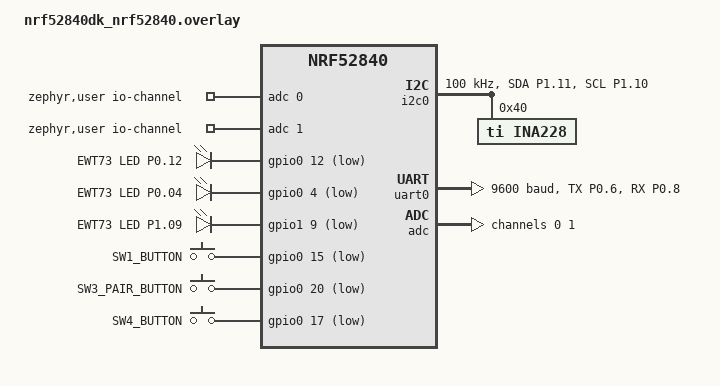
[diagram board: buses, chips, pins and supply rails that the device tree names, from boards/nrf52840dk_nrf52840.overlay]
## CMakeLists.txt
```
cmake_minimum_required(VERSION 3.20.0)

find_package(Zephyr REQUIRED HINTS $ENV{ZEPHYR_BASE})
project(jss_review_uart_bridge)

target_sources(app PRIVATE
	src/main.c
	src/button_control.c
	src/jss_service.c
)
```

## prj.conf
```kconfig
# E73 nRF52840 BLE NUS + JSS bring-up firmware.
# Aligned with Nordic official peripheral_uart sample patterns.

CONFIG_GPIO=y
CONFIG_ADC=y
CONFIG_I2C=y
CONFIG_SENSOR=y
CONFIG_TEMP_NRF5=y
CONFIG_LOG=y
CONFIG_LOG_DEFAULT_LEVEL=3

# Physical UART for STM32 telemetry link (uart1).
# Console/log backend remain off — E73 module has no debug UART routed.
CONFIG_SERIAL=y
CONFIG_UART_INTERRUPT_DRIVEN=y
CONFIG_CONSOLE=n
CONFIG_UART_CONSOLE=n
CONFIG_LOG_BACKEND_UART=n
# FIX(问题prj): Align with official - don't route printk through log subsystem
CONFIG_LOG_PRINTK=n

# FIX(问题11): Heap pool required by BLE subsystem internals.
# Official peripheral_uart sets 2048.
CONFIG_HEAP_MEM_POOL_SIZE=2048

# Bluetooth LE peripheral + Nordic UART Service.
CONFIG_BT=y
CONFIG_BT_SMP=y
CONFIG_BT_SMP_APP_PAIRING_ACCEPT=y
CONFIG_BT_PERIPHERAL=y
CONFIG_BT_DEVICE_NAME="Justin_Shunt_Test"
# Appearance 833 = 0x0341 = Generic Sensor (Bluetooth SIG assigned number)
CONFIG_BT_DEVICE_APPEARANCE=833
CONFIG_BT_MAX_CONN=2
CONFIG_BT_MAX_PAIRED=4
CONFIG_BT_NUS=y

# Enable bonding / settings persistence.
CONFIG_BT_SETTINGS=y
CONFIG_SETTINGS=y
CONFIG_FLASH=y
# FIX(问题5): Add FLASH_PAGE_LAYOUT to match official sample.
CONFIG_FLASH_PAGE_LAYOUT=y
CONFIG_FLASH_MAP=y
CONFIG_NVS=y
CONFIG_BT_KEYS_OVERWRITE_OLDEST=y

# Usable NUS packet size without making the demo complicated.
CONFIG_BT_ATT_PREPARE_COUNT=2
CONFIG_BT_BUF_ACL_RX_SIZE=251
CONFIG_BT_BUF_ACL_TX_SIZE=251
CONFIG_BT_L2CAP_TX_MTU=247
CONFIG_BT_CTLR_DATA_LENGTH_MAX=251

# E73 modules are reliable with the internal RC LF clock
# (no external 32.768 kHz crystal populated).
CONFIG_CLOCK_CONTROL_NRF_K32SRC_RC=y
CONFIG_CLOCK_CONTROL_NRF_K32SRC_XTAL=n

CONFIG_MAIN_STACK_SIZE=2048
CONFIG_SYSTEM_WORKQUEUE_STACK_SIZE=2048
```

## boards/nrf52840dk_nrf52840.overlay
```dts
#include <zephyr/dt-bindings/i2c/i2c.h>
#include <zephyr/dt-bindings/pinctrl/nrf-pinctrl.h>

/*
 * EWT73-TBCE / E73-2G4M08S1C BLE review-build overlay.
 *
 * Keep the hardware facts proven on the bench:
 *   SW3 / P0.20 = pairing button
 *   P0.06 = nRF TX -> STM32 PA3 (USART2_RX)
 *   P0.08 = nRF RX <- STM32 PA2 (USART2_TX)
 */

/ {
	zephyr,user {
		io-channels = <&adc 0>, <&adc 1>;
	};

	aliases {
		led0 = &ewt_led0;
		led1 = &ewt_led1;
		led2 = &ewt_led2;
		sw0 = &sw3_pair_button;
		sw1 = &sw1_button;
		sw2 = &sw4_button;
	};

	ewt_leds {
		compatible = "gpio-leds";

		ewt_led0: led_0 {
			gpios = <&gpio0 12 GPIO_ACTIVE_LOW>;
			label = "EWT73 LED P0.12";
		};

		ewt_led1: led_1 {
			gpios = <&gpio0 4 GPIO_ACTIVE_LOW>;
			label = "EWT73 LED P0.04";
		};

		ewt_led2: led_2 {
			gpios = <&gpio1 9 GPIO_ACTIVE_LOW>;
			label = "EWT73 LED P1.09";
		};
	};

	buttons {
		compatible = "gpio-keys";

		sw1_button: sw1_button {
			gpios = <&gpio0 15 (GPIO_PULL_UP | GPIO_ACTIVE_LOW)>;
			label = "SW1_BUTTON";
		};

		sw3_pair_button: sw3_pair_button {
			gpios = <&gpio0 20 (GPIO_PULL_UP | GPIO_ACTIVE_LOW)>;
			label = "SW3_PAIR_BUTTON";
		};

		sw4_button: sw4_button {
			gpios = <&gpio0 17 (GPIO_PULL_UP | GPIO_ACTIVE_LOW)>;
			label = "SW4_BUTTON";
		};
	};
};

&pinctrl {
	i2c0_ina228: i2c0_ina228 {
		group1 {
			psels = <NRF_PSEL(TWIM_SDA, 1, 11)>,
				<NRF_PSEL(TWIM_SCL, 1, 10)>;
		};
	};

	i2c0_ina228_sleep: i2c0_ina228_sleep {
		group1 {
			psels = <NRF_PSEL(TWIM_SDA, 1, 11)>,
				<NRF_PSEL(TWIM_SCL, 1, 10)>;
			low-power-enable;
		};
	};

	uart0_stm32: uart0_stm32 {
		group1 {
			psels = <NRF_PSEL(UART_TX, 0, 6)>;
		};
		group2 {
			psels = <NRF_PSEL(UART_RX, 0, 8)>;
			bias-pull-up;
		};
	};

	uart0_stm32_sleep: uart0_stm32_sleep {
		group1 {
			psels = <NRF_PSEL(UART_TX, 0, 6)>,
				<NRF_PSEL(UART_RX, 0, 8)>;
			low-power-enable;
		};
	};
};

&i2c0 {
	compatible = "nordic,nrf-twim";
	status = "okay";
	pinctrl-0 = <&i2c0_ina228>;
	pinctrl-1 = <&i2c0_ina228_sleep>;
	pinctrl-names = "default", "sleep";
	clock-frequency = <I2C_BITRATE_STANDARD>;

	ina228: ina228@40 {
		compatible = "ti,ina228";
		reg = <0x40>;
		status = "okay";
		current-lsb-microamps = <19>;
		rshunt-micro-ohms = <15000>;
		avg-count = <16>;
	};
};

&uart0 {
	compatible = "nordic,nrf-uarte";
	status = "okay";
	current-speed = <9600>;
	pinctrl-0 = <&uart0_stm32>;
	pinctrl-1 = <&uart0_stm32_sleep>;
	pinctrl-names = "default", "sleep";
};

&adc {
	#address-cells = <1>;
	#size-cells = <0>;

	channel@0 {
		reg = <0>;
		zephyr,gain = "ADC_GAIN_1_6";
		zephyr,reference = "ADC_REF_INTERNAL";
		zephyr,acquisition-time = <ADC_ACQ_TIME_DEFAULT>;
		zephyr,input-positive = <NRF_SAADC_AIN1>;
		zephyr,resolution = <12>;
	};

	channel@1 {
		reg = <1>;
		zephyr,gain = "ADC_GAIN_1_6";
		zephyr,reference = "ADC_REF_INTERNAL";
		zephyr,acquisition-time = <ADC_ACQ_TIME_DEFAULT>;
		zephyr,input-positive = <NRF_SAADC_AIN4>;
		zephyr,resolution = <12>;
	};
};
```

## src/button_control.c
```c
#include "button_control.h"

#include <errno.h>

#include <zephyr/device.h>
#include <zephyr/devicetree.h>
#include <zephyr/drivers/gpio.h>
#include <zephyr/kernel.h>
#include <zephyr/logging/log.h>
#include <zephyr/sys/atomic.h>

LOG_MODULE_REGISTER(button_control, LOG_LEVEL_INF);

#define PAIR_DEBOUNCE_MS 30
#define PAIR_MODE_PRESS_MS 5000
#define CLEAR_BONDS_PRESS_MS 10000

static const struct gpio_dt_spec pair_button = GPIO_DT_SPEC_GET(DT_ALIAS(sw0), gpios);
static const struct gpio_dt_spec sw3_button = GPIO_DT_SPEC_GET(DT_ALIAS(sw1), gpios);
static const struct gpio_dt_spec sw4_button = GPIO_DT_SPEC_GET(DT_ALIAS(sw2), gpios);

static struct gpio_callback pair_button_cb;
static struct k_work_delayable debounce_work;
static struct k_work_delayable pair_mode_work;
static struct k_work_delayable clear_bonds_work;
static button_control_event_handler_t event_handler;
static void *event_user_data;
static atomic_t stable_pair_pressed;
static atomic_t pair_mode_sent;
static atomic_t clear_bonds_sent;

static int read_pressed(const struct gpio_dt_spec *button)
{
	int value = gpio_pin_get_dt(button);

	if (value < 0) {
		return value;
	}

	return value ? 1 : 0;
}

static void notify_event(enum button_control_event event)
{
	switch (event) {
	case BUTTON_CONTROL_EVENT_PAIR_SHORT_PRESS:
		LOG_INF("PAIR button short press");
		break;
	case BUTTON_CONTROL_EVENT_ENTER_PAIR_MODE:
		LOG_INF("PAIR MODE REQUESTED");
		break;
	case BUTTON_CONTROL_EVENT_CLEAR_BONDS_REQUESTED:
		LOG_INF("CLEAR BONDS REQUESTED");
		break;
	default:
		break;
	}

	if (event_handler) {
		event_handler(event, event_user_data);
	}
}

static void pair_mode_work_handler(struct k_work *work)
{
	ARG_UNUSED(work);

	if (!atomic_get(&stable_pair_pressed)) {
		return;
	}

	if (!atomic_cas(&pair_mode_sent, 0, 1)) {
		return;
	}

	notify_event(BUTTON_CONTROL_EVENT_ENTER_PAIR_MODE);
}

static void clear_bonds_work_handler(struct k_work *work)
{
	ARG_UNUSED(work);

	if (!atomic_get(&stable_pair_pressed)) {
		return;
	}

	if (!atomic_cas(&clear_bonds_sent, 0, 1)) {
		return;
	}

	notify_event(BUTTON_CONTROL_EVENT_CLEAR_BONDS_REQUESTED);
}

static void debounce_work_handler(struct k_work *work)
{
	int pressed;
	bool was_pressed;

	ARG_UNUSED(work);

	pressed = read_pressed(&pair_button);
	if (pressed < 0) {
		LOG_WRN("PAIR button read failed: %d", pressed);
		return;
	}

	was_pressed = atomic_get(&stable_pair_pressed) != 0;
	if ((pressed != 0) == was_pressed) {
		return;
	}

	if (pressed) {
		atomic_set(&stable_pair_pressed, 1);
		atomic_set(&pair_mode_sent, 0);
		atomic_set(&clear_bonds_sent, 0);
		(void)k_work_reschedule(&pair_mode_work, K_MSEC(PAIR_MODE_PRESS_MS));
		(void)k_work_reschedule(&clear_bonds_work, K_MSEC(CLEAR_BONDS_PRESS_MS));
		LOG_DBG("PAIR button pressed");
		return;
	}

	atomic_set(&stable_pair_pressed, 0);
	(void)k_work_cancel_delayable(&pair_mode_work);
	(void)k_work_cancel_delayable(&clear_bonds_work);
	LOG_DBG("PAIR button released");

	if (!atomic_get(&pair_mode_sent) && !atomic_get(&clear_bonds_sent)) {
		notify_event(BUTTON_CONTROL_EVENT_PAIR_SHORT_PRESS);
	}
}

static void pair_button_isr(const struct device *dev, struct gpio_callback *cb, uint32_t pins)
{
	ARG_UNUSED(dev);
	ARG_UNUSED(cb);
	ARG_UNUSED(pins);

	(void)k_work_reschedule(&debounce_work, K_MSEC(PAIR_DEBOUNCE_MS));
}

static int configure_input(const struct gpio_dt_spec *button)
{
	if (!gpio_is_ready_dt(button)) {
		return -ENODEV;
	}

	return gpio_pin_configure_dt(button, GPIO_INPUT);
}

int button_control_init(button_control_event_handler_t handler, void *user_data)
{
	int err;

	event_handler = handler;
	event_user_data = user_data;

	err = configure_input(&pair_button);
	if (err) {
		return err;
	}

	err = configure_input(&sw3_button);
	if (err) {
		return err;
	}

	err = configure_input(&sw4_button);
	if (err) {
		return err;
	}

	/* SW3/SW4 are status inputs sampled in the main loop. Only PAIR uses
	 * interrupts because it owns short/long-press timing. */
	k_work_init_delayable(&debounce_work, debounce_work_handler);
	k_work_init_delayable(&pair_mode_work, pair_mode_work_handler);
	k_work_init_delayable(&clear_bonds_work, clear_bonds_work_handler);

	atomic_set(&stable_pair_pressed, read_pressed(&pair_button) > 0 ? 1 : 0);
	atomic_set(&pair_mode_sent, 0);
	atomic_set(&clear_bonds_sent, 0);

	gpio_init_callback(&pair_button_cb, pair_button_isr, BIT(pair_button.pin));
	err = gpio_add_callback(pair_button.port, &pair_button_cb);
	if (err) {
		return err;
	}

	err = gpio_pin_interrupt_configure_dt(&pair_button, GPIO_INT_EDGE_BOTH);
	if (err) {
		(void)gpio_remove_callback(pair_button.port, &pair_button_cb);
		return err;
	}

	LOG_INF("PAIR button ready");
	return 0;
}

int button_control_pair_pressed(void)
{
	return read_pressed(&pair_button);
}

int button_control_sw3_pressed(void)
{
	return read_pressed(&sw3_button);
}

int button_control_sw4_pressed(void)
{
	return read_pressed(&sw4_button);
}
```

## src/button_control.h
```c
#ifndef BUTTON_CONTROL_H_
#define BUTTON_CONTROL_H_

#include <stdint.h>

enum button_control_event {
	BUTTON_CONTROL_EVENT_PAIR_SHORT_PRESS,
	BUTTON_CONTROL_EVENT_ENTER_PAIR_MODE,
	BUTTON_CONTROL_EVENT_CLEAR_BONDS_REQUESTED,
};

typedef void (*button_control_event_handler_t)(enum button_control_event event, void *user_data);

int button_control_init(button_control_event_handler_t handler, void *user_data);
int button_control_pair_pressed(void);
int button_control_sw3_pressed(void);
int button_control_sw4_pressed(void);

#endif /* BUTTON_CONTROL_H_ */
```

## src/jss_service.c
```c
/*
 * Justin Smart Shunt Test GATT Service.
 * Official baseline: direct bt_gatt_notify(), no pipeline.
 *
 * v0.3.0: Added UART bridge characteristics (def5/def6).
 *   def5 = UART Command (App→STM32): write-without-response
 *   def6 = UART Response (STM32→App): notify
 *
 * LED characteristic uses BT_GATT_PERM_WRITE_ENCRYPT.
 * Encryption is enforced by the Zephyr stack; no manual bond check here.
 */

#include "jss_service.h"

#include <errno.h>
#include <stddef.h>
#include <stdint.h>
#include <string.h>

#include <zephyr/bluetooth/gatt.h>
#include <zephyr/bluetooth/uuid.h>
#include <zephyr/kernel.h>
#include <zephyr/logging/log.h>

LOG_MODULE_REGISTER(jss_service, LOG_LEVEL_INF);

#define JSS_TEXT_MAX_LEN 256

static const struct bt_uuid_128 jss_service_uuid =
	BT_UUID_INIT_128(JSS_SERVICE_UUID_VAL);
static const struct bt_uuid_128 jss_live_data_uuid =
	BT_UUID_INIT_128(BT_UUID_128_ENCODE(0x12345678, 0x1234, 0x5678, 0x1234,
					    0x56789abcdef1));
static const struct bt_uuid_128 jss_led_control_uuid =
	BT_UUID_INIT_128(BT_UUID_128_ENCODE(0x12345678, 0x1234, 0x5678, 0x1234,
					    0x56789abcdef2));
static const struct bt_uuid_128 jss_device_status_uuid =
	BT_UUID_INIT_128(BT_UUID_128_ENCODE(0x12345678, 0x1234, 0x5678, 0x1234,
					    0x56789abcdef3));
static const struct bt_uuid_128 jss_secure_info_uuid =
	BT_UUID_INIT_128(BT_UUID_128_ENCODE(0x12345678, 0x1234, 0x5678, 0x1234,
					    0x56789abcdef4));
static const struct bt_uuid_128 jss_uart_cmd_uuid =
	BT_UUID_INIT_128(BT_UUID_128_ENCODE(0x12345678, 0x1234, 0x5678, 0x1234,
					    0x56789abcdef5));
static const struct bt_uuid_128 jss_uart_rsp_uuid =
	BT_UUID_INIT_128(BT_UUID_128_ENCODE(0x12345678, 0x1234, 0x5678, 0x1234,
					    0x56789abcdef6));

static struct jss_service_handlers service_handlers;

/* Mutex protection for shared text buffers written from main thread,
 * read from BLE system workqueue thread (GATT read / notify). */
static K_MUTEX_DEFINE(live_data_mutex);
static K_MUTEX_DEFINE(status_mutex);
static K_MUTEX_DEFINE(secure_info_mutex);
static K_MUTEX_DEFINE(uart_rsp_mutex);

static char live_data[JSS_TEXT_MAX_LEN] = "V=0.000,I=0,T=0,SOC=0";
static char device_status[JSS_TEXT_MAX_LEN] = "PAIR_MODE=0,BONDED_COUNT=0,LED=0,FW=" JSS_FW_VERSION ",IS_BONDED=0";
static char secure_info[JSS_TEXT_MAX_LEN] = "SERIAL=" JSS_DEVICE_SERIAL ",FW=" JSS_FW_VERSION ",PROVISIONED=0";
static char uart_rsp[JSS_TEXT_MAX_LEN];
static bool led_on;
static bool live_notify_enabled;
static bool status_notify_enabled;
static bool uart_rsp_notify_enabled;
static const struct bt_gatt_attr *live_data_attr;
static const struct bt_gatt_attr *device_status_attr;
static const struct bt_gatt_attr *uart_rsp_attr;
static uint32_t live_notify_attempts;
static uint32_t live_notify_successes;
static uint32_t live_notify_skips;
static int live_notify_last_err;
static int led_write_last_err;

/* ---------- GATT read callbacks ---------- */

static ssize_t read_live_data(struct bt_conn *conn, const struct bt_gatt_attr *attr,
			      void *buf, uint16_t len, uint16_t offset)
{
	ssize_t ret;

	k_mutex_lock(&live_data_mutex, K_FOREVER);
	ret = bt_gatt_attr_read(conn, attr, buf, len, offset,
				live_data, strlen(live_data));
	k_mutex_unlock(&live_data_mutex);

	return ret;
}

static ssize_t read_device_status(struct bt_conn *conn, const struct bt_gatt_attr *attr,
				  void *buf, uint16_t len, uint16_t offset)
{
	ssize_t ret;

	k_mutex_lock(&status_mutex, K_FOREVER);
	ret = bt_gatt_attr_read(conn, attr, buf, len, offset,
				device_status, strlen(device_status));
	k_mutex_unlock(&status_mutex);

	return ret;
}

static ssize_t read_secure_info(struct bt_conn *conn, const struct bt_gatt_attr *attr,
				void *buf, uint16_t len, uint16_t offset)
{
	ssize_t ret;

	k_mutex_lock(&secure_info_mutex, K_FOREVER);
	ret = bt_gatt_attr_read(conn, attr, buf, len, offset,
				secure_info, strlen(secure_info));
	k_mutex_unlock(&secure_info_mutex);

	return ret;
}

static ssize_t read_uart_rsp(struct bt_conn *conn, const struct bt_gatt_attr *attr,
			     void *buf, uint16_t len, uint16_t offset)
{
	ssize_t ret;

	k_mutex_lock(&uart_rsp_mutex, K_FOREVER);
	ret = bt_gatt_attr_read(conn, attr, buf, len, offset,
				uart_rsp, strlen(uart_rsp));
	k_mutex_unlock(&uart_rsp_mutex);

	return ret;
}

/* ---------- LED write callback ---------- */

static ssize_t write_led_control(struct bt_conn *conn, const struct bt_gatt_attr *attr,
				 const void *buf, uint16_t len, uint16_t offset,
				 uint8_t flags)
{
	const uint8_t *value = buf;

	ARG_UNUSED(conn);
	ARG_UNUSED(attr);
	ARG_UNUSED(flags);

	if (offset != 0) {
		led_write_last_err = BT_ATT_ERR_INVALID_OFFSET;
		return BT_GATT_ERR(BT_ATT_ERR_INVALID_OFFSET);
	}

	if (len != 1) {
		led_write_last_err = BT_ATT_ERR_INVALID_ATTRIBUTE_LEN;
		return BT_GATT_ERR(BT_ATT_ERR_INVALID_ATTRIBUTE_LEN);
	}

	if (value[0] != 0x00 && value[0] != 0x01) {
		led_write_last_err = BT_ATT_ERR_VALUE_NOT_ALLOWED;
		return BT_GATT_ERR(BT_ATT_ERR_VALUE_NOT_ALLOWED);
	}

	led_on = value[0] == 0x01;
	if (service_handlers.led_write) {
		service_handlers.led_write(led_on);
	}

	LOG_INF("LED control accepted: %u", led_on ? 1 : 0);
	led_write_last_err = 0;
	return len;
}

/* ---------- UART command write callback ---------- */

static ssize_t write_uart_cmd(struct bt_conn *conn, const struct bt_gatt_attr *attr,
			      const void *buf, uint16_t len, uint16_t offset,
			      uint8_t flags)
{
	ARG_UNUSED(conn);
	ARG_UNUSED(attr);
	ARG_UNUSED(flags);

	if (offset != 0) {
		return BT_GATT_ERR(BT_ATT_ERR_INVALID_OFFSET);
	}

	if (len == 0 || len > JSS_TEXT_MAX_LEN) {
		return BT_GATT_ERR(BT_ATT_ERR_INVALID_ATTRIBUTE_LEN);
	}

	if (service_handlers.uart_cmd) {
		service_handlers.uart_cmd(buf, len);
	}

	return len;
}

/* ---------- CCC callbacks ---------- */

static void live_ccc_changed(const struct bt_gatt_attr *attr, uint16_t value)
{
	ARG_UNUSED(attr);

	live_notify_enabled = value == BT_GATT_CCC_NOTIFY;
	LOG_INF("Live data notify %s", live_notify_enabled ? "enabled" : "disabled");
}

static void status_ccc_changed(const struct bt_gatt_attr *attr, uint16_t value)
{
	ARG_UNUSED(attr);

	status_notify_enabled = value == BT_GATT_CCC_NOTIFY;
	LOG_INF("Status notify %s", status_notify_enabled ? "enabled" : "disabled");
}

static void uart_rsp_ccc_changed(const struct bt_gatt_attr *attr, uint16_t value)
{
	ARG_UNUSED(attr);

	uart_rsp_notify_enabled = value == BT_GATT_CCC_NOTIFY;
	LOG_INF("UART response notify %s", uart_rsp_notify_enabled ? "enabled" : "disabled");
}

/* ---------- GATT service definition ---------- */

BT_GATT_SERVICE_DEFINE(jss_svc,
	BT_GATT_PRIMARY_SERVICE(&jss_service_uuid),
	/* def1: Live telemetry data (read + notify) */
	BT_GATT_CHARACTERISTIC(&jss_live_data_uuid.uuid,
			       BT_GATT_CHRC_READ | BT_GATT_CHRC_NOTIFY,
			       BT_GATT_PERM_READ,
			       read_live_data, NULL, NULL),
	BT_GATT_CCC(live_ccc_changed, BT_GATT_PERM_READ | BT_GATT_PERM_WRITE),
	/* def2: LED control (write, encrypted) */
	BT_GATT_CHARACTERISTIC(&jss_led_control_uuid.uuid,
			       BT_GATT_CHRC_WRITE,
			       BT_GATT_PERM_WRITE_ENCRYPT,
			       NULL, write_led_control, NULL),
	/* def3: Device status (read + notify) */
	BT_GATT_CHARACTERISTIC(&jss_device_status_uuid.uuid,
			       BT_GATT_CHRC_READ | BT_GATT_CHRC_NOTIFY,
			       BT_GATT_PERM_READ,
			       read_device_status, NULL, NULL),
	BT_GATT_CCC(status_ccc_changed, BT_GATT_PERM_READ | BT_GATT_PERM_WRITE),
	/* def4: Secure info (read, encrypted) */
	BT_GATT_CHARACTERISTIC(&jss_secure_info_uuid.uuid,
			       BT_GATT_CHRC_READ,
			       BT_GATT_PERM_READ_ENCRYPT,
			       read_secure_info, NULL, NULL),
	/* def5: UART command — App writes command text, forwarded to STM32 */
	BT_GATT_CHARACTERISTIC(&jss_uart_cmd_uuid.uuid,
			       BT_GATT_CHRC_WRITE | BT_GATT_CHRC_WRITE_WITHOUT_RESP,
			       BT_GATT_PERM_WRITE,
			       NULL, write_uart_cmd, NULL),
	/* def6: UART response — STM32 reply text, notified to App */
	BT_GATT_CHARACTERISTIC(&jss_uart_rsp_uuid.uuid,
			       BT_GATT_CHRC_READ | BT_GATT_CHRC_NOTIFY,
			       BT_GATT_PERM_READ,
			       read_uart_rsp, NULL, NULL),
	BT_GATT_CCC(uart_rsp_ccc_changed, BT_GATT_PERM_READ | BT_GATT_PERM_WRITE),
);

/* ---------- Public API ---------- */

void jss_service_init(const struct jss_service_handlers *handlers)
{
	if (handlers) {
		service_handlers = *handlers;
	}

	/* Runtime attribute lookup by UUID; no magic index dependency. */
	live_data_attr = bt_gatt_find_by_uuid(jss_svc.attrs, jss_svc.attr_count,
					      &jss_live_data_uuid.uuid);
	device_status_attr = bt_gatt_find_by_uuid(jss_svc.attrs, jss_svc.attr_count,
						  &jss_device_status_uuid.uuid);
	uart_rsp_attr = bt_gatt_find_by_uuid(jss_svc.attrs, jss_svc.attr_count,
					     &jss_uart_rsp_uuid.uuid);

	if (!live_data_attr) {
		LOG_ERR("Failed to find live data attribute by UUID");
	}
	if (!device_status_attr) {
		LOG_ERR("Failed to find device status attribute by UUID");
	}
	if (!uart_rsp_attr) {
		LOG_ERR("Failed to find UART response attribute by UUID");
	}
}

void jss_service_set_live_data(const char *text)
{
	if (!text) {
		return;
	}

	k_mutex_lock(&live_data_mutex, K_FOREVER);
	(void)snprintk(live_data, sizeof(live_data), "%s", text);
	k_mutex_unlock(&live_data_mutex);
}

void jss_service_set_status(const char *text)
{
	if (!text) {
		return;
	}

	k_mutex_lock(&status_mutex, K_FOREVER);
	(void)snprintk(device_status, sizeof(device_status), "%s", text);
	k_mutex_unlock(&status_mutex);
}

void jss_service_set_secure_info(const char *text)
{
	if (!text) {
		return;
	}

	k_mutex_lock(&secure_info_mutex, K_FOREVER);
	(void)snprintk(secure_info, sizeof(secure_info), "%s", text);
	k_mutex_unlock(&secure_info_mutex);
}

void jss_service_set_uart_response(const char *text)
{
	if (!text) {
		return;
	}

	k_mutex_lock(&uart_rsp_mutex, K_FOREVER);
	(void)snprintk(uart_rsp, sizeof(uart_rsp), "%s", text);
	k_mutex_unlock(&uart_rsp_mutex);
}

int jss_service_notify_live_data(struct bt_conn *conn)
{
	int err;
	char notify_data[JSS_TEXT_MAX_LEN];
	size_t notify_len;

	if (!conn) {
		live_notify_last_err = -ENOTCONN;
		return -ENOTCONN;
	}

	if (!live_data_attr) {
		live_notify_last_err = -ENOENT;
		return -ENOENT;
	}

	if (!bt_gatt_is_subscribed(conn, live_data_attr, BT_GATT_CCC_NOTIFY)) {
		live_notify_skips++;
		live_notify_last_err = -EACCES;
		return -EACCES;
	}

	live_notify_attempts++;

	k_mutex_lock(&live_data_mutex, K_FOREVER);
	notify_len = strlen(live_data);
	memcpy(notify_data, live_data, notify_len);
	k_mutex_unlock(&live_data_mutex);

	err = bt_gatt_notify(conn, live_data_attr, notify_data, notify_len);

	live_notify_last_err = err;
	if (err == 0) {
		live_notify_successes++;
	}
	return err;
}

void jss_service_notify_status(void)
{
	char notify_data[JSS_TEXT_MAX_LEN];
	size_t notify_len;

	if (!status_notify_enabled) {
		return;
	}

	if (!device_status_attr) {
		return;
	}

	k_mutex_lock(&status_mutex, K_FOREVER);
	notify_len = strlen(device_status);
	memcpy(notify_data, device_status, notify_len);
	k_mutex_unlock(&status_mutex);

	(void)bt_gatt_notify(NULL, device_status_attr, notify_data, notify_len);
}

int jss_service_notify_uart_response(struct bt_conn *conn)
{
	char notify_data[JSS_TEXT_MAX_LEN];
	size_t notify_len;

	if (!conn || !uart_rsp_attr) {
		return -ENOENT;
	}

	if (!bt_gatt_is_subscribed(conn, uart_rsp_attr, BT_GATT_CCC_NOTIFY)) {
		return -EACCES;
	}

	k_mutex_lock(&uart_rsp_mutex, K_FOREVER);
	notify_len = strlen(uart_rsp);
	memcpy(notify_data, uart_rsp, notify_len);
	k_mutex_unlock(&uart_rsp_mutex);

	return bt_gatt_notify(conn, uart_rsp_attr, notify_data, notify_len);
}

bool jss_service_uart_rsp_is_subscribed(struct bt_conn *conn)
{
	if (!conn || !uart_rsp_attr) {
		return false;
	}

	return bt_gatt_is_subscribed(conn, uart_rsp_attr, BT_GATT_CCC_NOTIFY);
}

bool jss_service_led_on(void)
{
	return led_on;
}

bool jss_service_live_notify_enabled(void)
{
	return live_notify_enabled;
}

bool jss_service_status_notify_enabled(void)
{
	return status_notify_enabled;
}

bool jss_service_live_is_subscribed(struct bt_conn *conn)
{
	if (!conn || !live_data_attr) {
		return false;
	}

	return bt_gatt_is_subscribed(conn, live_data_attr, BT_GATT_CCC_NOTIFY);
}

uint32_t jss_service_live_notify_attempts(void)
{
	return live_notify_attempts;
}

uint32_t jss_service_live_notify_successes(void)
{
	return live_notify_successes;
}

int jss_service_live_notify_last_err(void)
{
	return live_notify_last_err;
}

uint32_t jss_service_live_notify_skips(void)
{
	return live_notify_skips;
}

int jss_service_led_write_last_err(void)
{
	return led_write_last_err;
}
```

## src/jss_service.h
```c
#ifndef JSS_SERVICE_H_
#define JSS_SERVICE_H_

#include <stdbool.h>

#include <zephyr/bluetooth/conn.h>

#define JSS_DEVICE_NAME "Justin_Shunt_Test"

#define JSS_SERVICE_UUID_STR "12345678-1234-5678-1234-56789abcdef0"
#define JSS_LIVE_DATA_UUID_STR "12345678-1234-5678-1234-56789abcdef1"
#define JSS_LED_CONTROL_UUID_STR "12345678-1234-5678-1234-56789abcdef2"
#define JSS_DEVICE_STATUS_UUID_STR "12345678-1234-5678-1234-56789abcdef3"
#define JSS_SECURE_INFO_UUID_STR "12345678-1234-5678-1234-56789abcdef4"
#define JSS_UART_CMD_UUID_STR "12345678-1234-5678-1234-56789abcdef5"
#define JSS_UART_RSP_UUID_STR "12345678-1234-5678-1234-56789abcdef6"

#define JSS_FW_VERSION "0.3.0-UART-BRIDGE"
#define JSS_DEVICE_SERIAL "DEMO-170526"

#define JSS_SERVICE_UUID_VAL BT_UUID_128_ENCODE(0x12345678, 0x1234, 0x5678, 0x1234, 0x56789abcdef0)

typedef void (*jss_led_write_handler_t)(bool led_on);
typedef void (*jss_uart_cmd_handler_t)(const uint8_t *data, uint16_t len);

struct jss_service_handlers {
	jss_led_write_handler_t led_write;
	jss_uart_cmd_handler_t uart_cmd;
};

void jss_service_init(const struct jss_service_handlers *handlers);
void jss_service_set_live_data(const char *text);
void jss_service_set_status(const char *text);
void jss_service_set_secure_info(const char *text);
int jss_service_notify_live_data(struct bt_conn *conn);
void jss_service_notify_status(void);

/* UART response: push STM32 reply text, notify subscribed peers */
void jss_service_set_uart_response(const char *text);
int jss_service_notify_uart_response(struct bt_conn *conn);
bool jss_service_uart_rsp_is_subscribed(struct bt_conn *conn);

bool jss_service_led_on(void);
bool jss_service_live_notify_enabled(void);
bool jss_service_status_notify_enabled(void);
bool jss_service_live_is_subscribed(struct bt_conn *conn);
uint32_t jss_service_live_notify_attempts(void);
uint32_t jss_service_live_notify_successes(void);
int jss_service_live_notify_last_err(void);
uint32_t jss_service_live_notify_skips(void);
int jss_service_led_write_last_err(void);

#endif /* JSS_SERVICE_H_ */
```
